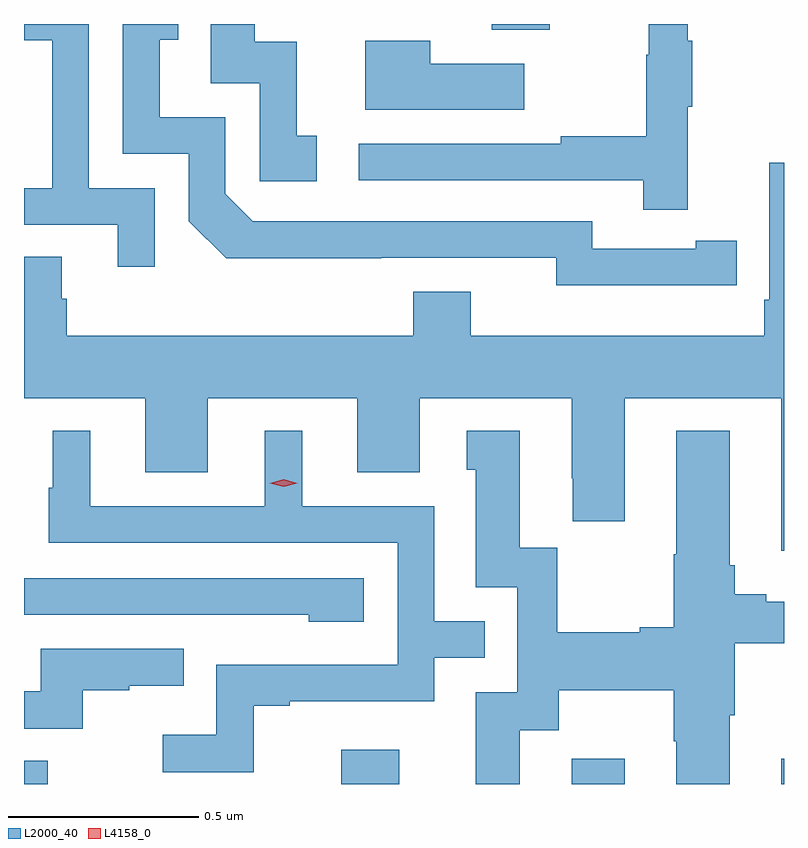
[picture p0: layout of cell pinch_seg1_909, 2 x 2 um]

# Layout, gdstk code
import gdstk
lib = gdstk.Library(unit=1e-6, precision=1e-09)
def R(c, l, rs):  # rectangles x0, y0, x1, y1
    for r in rs: c.add(gdstk.rectangle(r[:2], r[2:], *l))
def P(c, l, *ps):  # polygons
    for p in ps: c.add(gdstk.Polygon(p, *l))
L2000_40 = (2000, 40)
L4158_0 = (4158, 0)

pinch_seg1_909 = lib.new_cell('pinch_seg1_909')
R(pinch_seg1_909, L2000_40, [(527.86,518.749,527.923,518.81), (528.695,518.749,528.847,518.839), (529.301,518.749,529.441,518.815), (529.853,518.749,529.86,518.815), (529.091,520.734,529.243,520.749)])
P(pinch_seg1_909, L2000_40, [(529.628,520.062),(529.736,520.062),(529.736,520.178),(529.628,520.178),(529.628,520.158),(529.356,520.158),(529.356,520.23),(528.462,520.23),(528.39,520.302),(528.39,520.503),(528.217,520.503),(528.217,520.707),(528.266,520.707),(528.266,520.749),(528.12,520.749),(528.12,520.407),(528.294,520.407),(528.294,520.23),(528.392,520.133),(528.8,520.133),(528.8,520.134),(529.26,520.134),(529.26,520.061),(529.628,520.061)],
  [(528.204,520.317),(528.03,520.317),(528.03,520.749),(527.86,520.749),(527.86,520.706),(527.934,520.706),(527.934,520.317),(527.86,520.317),(527.86,520.221),(528.107,520.221),(528.107,520.11),(528.204,520.11)],
  [(529.607,520.531),(529.618,520.531),(529.618,520.705),(529.607,520.705),(529.607,520.749),(529.504,520.749),(529.504,520.668),(529.497,520.668),(529.497,520.454),(529.273,520.454),(529.273,520.434),(528.741,520.434),(528.741,520.338),(529.489,520.338),(529.489,520.26),(529.607,520.26)],
  [(528.631,520.455),(528.578,520.455),(528.578,520.702),(528.467,520.702),(528.467,520.749),(528.351,520.749),(528.351,520.593),(528.48,520.593),(528.48,520.335),(528.631,520.335)],
  [(529.177,520.645),(528.929,520.645),(528.929,520.705),(528.758,520.705),(528.758,520.523),(529.177,520.523)],
  [(528.901,519.764),(529.301,519.764),(529.301,519.553),(529.304,519.553),(529.304,519.441),(529.441,519.441),(529.441,519.764),(529.853,519.764),(529.853,519.363),(529.86,519.363),(529.86,520.384),(529.821,520.384),(529.821,520.024),(529.808,520.024),(529.808,519.928),(529.036,519.928),(529.036,520.045),(528.884,520.045),(528.884,519.928),(527.972,519.928),(527.972,520.026),(527.959,520.026),(527.959,520.136),(527.86,520.136),(527.86,519.764),(528.179,519.764),(528.179,519.57),(528.343,519.57),(528.343,519.764),(528.737,519.764),(528.737,519.57),(528.901,519.57)],
  [(529.165,518.89),(529.267,518.89),(529.267,518.996),(529.57,518.996),(529.57,518.862),(529.577,518.862),(529.577,518.749),(529.717,518.749),(529.717,518.93),(529.73,518.93),(529.73,519.12),(529.86,519.12),(529.86,519.229),(529.813,519.229),(529.813,519.248),(529.73,519.248),(529.73,519.325),(529.717,519.325),(529.717,519.679),(529.577,519.679),(529.577,519.353),(529.57,519.353),(529.57,519.161),(529.481,519.161),(529.481,519.148),(529.263,519.148),(529.263,519.371),(529.165,519.371),(529.165,519.679),(529.025,519.679),(529.025,519.576),(529.049,519.576),(529.049,519.267),(529.158,519.267),(529.158,518.991),(529.049,518.991),(529.049,518.749),(529.165,518.749)],
  [(528.465,518.955),(528.559,518.955),(528.559,518.967),(528.939,518.967),(528.939,519.081),(529.073,519.081),(529.073,519.177),(528.939,519.177),(528.939,519.48),(528.592,519.48),(528.592,519.679),(528.494,519.679),(528.494,519.48),(528.034,519.48),(528.034,519.679),(527.936,519.679),(527.936,519.528),(527.925,519.528),(527.925,519.384),(528.843,519.384),(528.843,519.063),(528.366,519.063),(528.366,518.878),(528.225,518.878),(528.225,518.78),(528.465,518.78)],
  [(528.754,519.291),(527.86,519.291),(527.86,519.195),(528.373,519.195),(528.373,519.194),(528.609,519.194),(528.609,519.176),(528.754,519.176)],
  [(528.014,518.996),(528.137,518.996),(528.137,519.008),(528.281,519.008),(528.281,519.105),(527.904,519.105),(527.904,518.993),(527.86,518.993),(527.86,518.895),(528.014,518.895)])
P(pinch_seg1_909, L4158_0, [(528.543,519.531),(528.507,519.54),(528.507,519.541),(528.507,519.541),(528.543,519.551),(528.579,519.541),(528.579,519.541),(528.579,519.54)])

lib.write_gds('pinch_seg1_909.gds')
